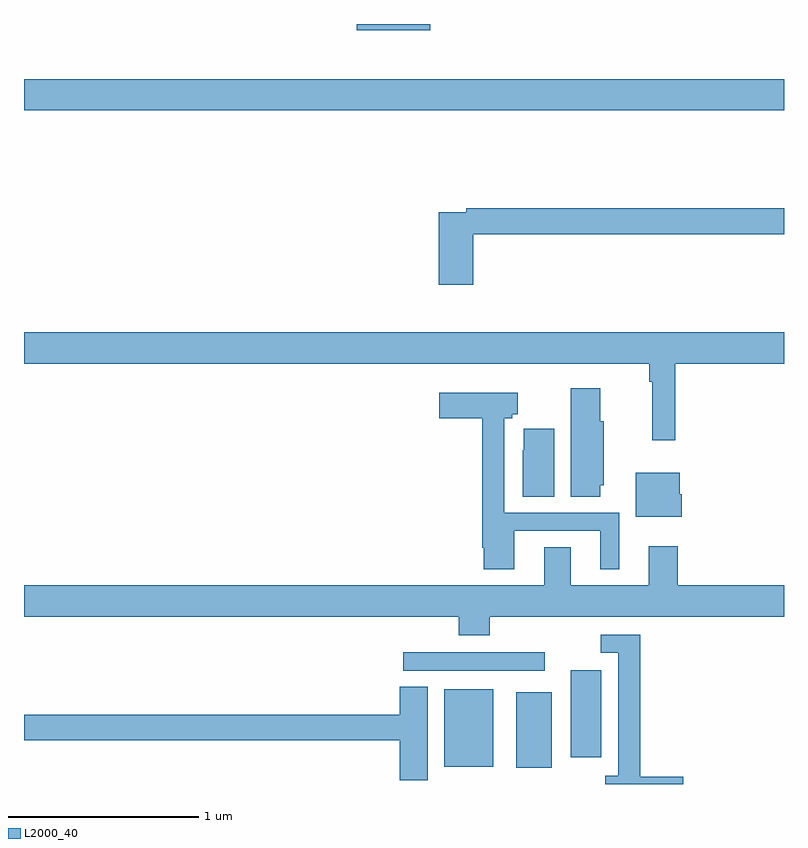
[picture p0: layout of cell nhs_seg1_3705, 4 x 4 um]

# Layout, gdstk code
import gdstk
lib = gdstk.Library(unit=1e-6, precision=1e-09)
def R(c, l, rs):  # rectangles x0, y0, x1, y1
    for r in rs: c.add(gdstk.rectangle(r[:2], r[2:], *l))
def P(c, l, *ps):  # polygons
    for p in ps: c.add(gdstk.Polygon(p, *l))
L2000_40 = (2000, 40)

nhs_seg1_3705 = lib.new_cell('nhs_seg1_3705')
R(nhs_seg1_3705, L2000_40, [(315.59,536.285,315.778,536.683), (315.212,536.291,315.469,536.698), (315.878,536.34,316.039,536.797), (314.997,536.796,315.742,536.892), (313,539.744,317,539.908), (314.75,540.167,315.139,540.199)])
P(nhs_seg1_3705, L2000_40, [(315.365,539.092),(317,539.092),(317,539.228),(315.328,539.228),(315.328,539.208),(315.182,539.208),(315.182,538.827),(315.365,538.827)],
  [(316.427,538.412),(317,538.412),(317,538.576),(313,538.576),(313,538.412),(316.291,538.412),(316.291,538.316),(316.306,538.316),(316.306,538.008),(316.427,538.008)],
  [(316.033,537.771),(316.051,537.771),(316.051,538.107),(316.033,538.107),(316.033,538.282),(315.878,538.282),(315.878,537.712),(316.033,537.712)],
  [(315.58,537.531),(316.034,537.531),(316.034,537.33),(316.132,537.33),(316.132,537.627),(315.528,537.627),(315.528,538.124),(315.57,538.124),(315.57,538.144),(315.599,538.144),(315.599,538.258),(315.186,538.258),(315.186,538.124),(315.412,538.124),(315.412,537.442),(315.419,537.442),(315.419,537.33),(315.58,537.33)],
  [(315.79,538.069),(315.629,538.069),(315.629,537.956),(315.626,537.956),(315.626,537.712),(315.79,537.712)],
  [(316.462,537.723),(316.45,537.723),(316.45,537.838),(316.22,537.838),(316.22,537.605),(316.462,537.605)],
  [(315.452,537.08),(317,537.08),(317,537.244),(316.442,537.244),(316.442,537.451),(316.289,537.451),(316.289,537.244),(315.877,537.244),(315.877,537.446),(315.737,537.446),(315.737,537.244),(313,537.244),(313,537.08),(315.287,537.08),(315.287,536.981),(315.452,536.981)],
  [(316.471,536.237),(316.244,536.237),(316.244,536.985),(316.035,536.985),(316.035,536.889),(316.128,536.889),(316.128,536.242),(316.058,536.242),(316.058,536.199),(316.471,536.199)],
  [(315.124,536.711),(314.978,536.711),(314.978,536.564),(313,536.564),(313,536.428),(314.978,536.428),(314.978,536.22),(315.124,536.22)])

lib.write_gds('nhs_seg1_3705.gds')
